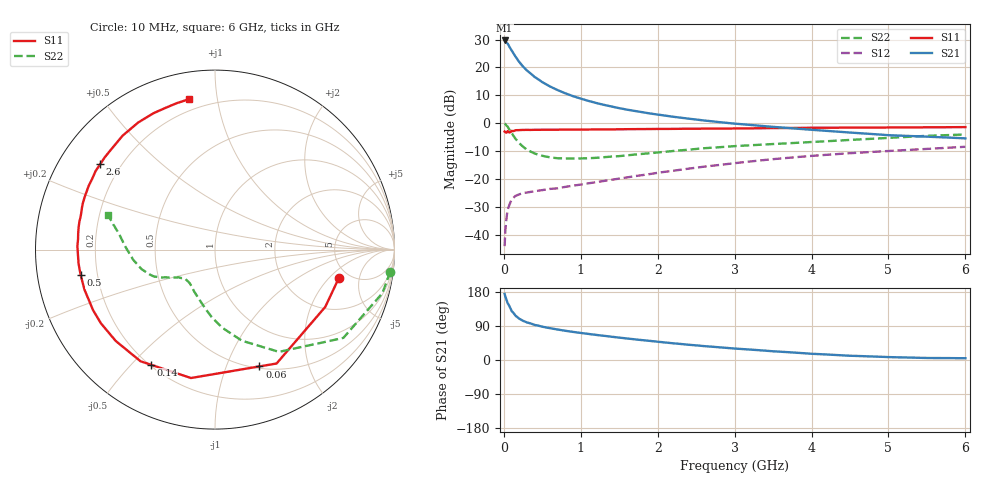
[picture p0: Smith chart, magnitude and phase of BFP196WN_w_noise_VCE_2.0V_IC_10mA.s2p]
! (c) 2017  Infineon Technologies AG, Munich
! Infineon Technologies  Discrete & RF Semiconductors
! BFP196WN
! VCE =  2.0 V,  IC =  10 mA
! Common Emitter S-Parameters:  Jan 2017
# GHz  S  MA  R  50
!  f  S11  S21  S12  S22
! GHz  MAG  ANG  MAG  ANG  MAG  ANG  MAG  ANG
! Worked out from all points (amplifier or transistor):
!   77 points, 10 MHz to 6 GHz, reference 50 ohm
!   highest |S21| = 29.7 dB at 10 MHz (marker M1)
!   |S21| within 3 dB of that: start of sweep to 88.11 MHz
!   unconditionally stable (mu >= 1): 1.12 GHz to 2.825 GHz
!   at 130 MHz: K = 0.19, MSG = 25.8 dB, |S12| = -26.7 dB
!   at 2.2 GHz: K = 1.06, MAG = 8.2 dB, |S12| = -17.1 dB
!   at 6 GHz: K = 0.91, MSG = 1.5 dB, |S12| = -8.5 dB
!   lowest NFmin = 0.92 dB at 450 MHz
!   S11 on the Smith chart (normalised r, x): 10 MHz: 4.12, -2.61; 60 MHz: 0.52, -1.31; 140 MHz: 0.20, -0.57; 500 MHz: 0.14, -0.09; 2.6 GHz: 0.12, +0.33; 6 GHz: 0.14, +0.83
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0.01  0.7081 -12.9  30.54 174.4  0.0062 84.2  0.984 -7.2
0.02  0.6923 -27.5  29.26 167.1  0.0122 78.1  0.9638 -14.6
0.05  0.7214 -61.6  26.79 149.7  0.028 62.4  0.8681 -34.5
0.06  0.6963 -69.2  25.3 146.5  0.0307 58.3  0.8195 -38.3
0.1  0.7279 -100.6  20.37 129.5  0.0423 47.5  0.6721 -58.0
0.14  0.7344 -119.2  16.62 120.2  0.048 39.6  0.5537 -69.9
0.15  0.7478 -123.7  15.77 117.2  0.0495 37.9  0.5288 -73.6
0.2  0.7516 -137.4  12.56 109.1  0.0528 33.9  0.4377 -84.6
0.25  0.7567 -147.1  10.39 103.4  0.0558 31.5  0.3782 -92.6
0.3  0.7585 -153.7  8.817 99.2  0.0569 30.5  0.3336 -99.2
0.4  0.7608 -163.0  6.754 92.6  0.0601 30.9  0.2856 -109.0
0.5  0.7617 -169.4  5.448 87.9  0.0629 32.8  0.2596 -116.8
0.7  0.7642 -177.9  3.916 80.4  0.0678 37.2  0.2346 -126.5
0.9  0.7653 175.6  3.053 74.1  0.0756 41.4  0.2322 -132.6
1.1  0.7698 170.7  2.511 68.8  0.0834 45.4  0.2351 -136.9
1.5  0.7772 162.5  1.86 59.1  0.1013 50.8  0.2563 -143.1
2.1  0.7888 151.6  1.365 46.2  0.1343 55.1  0.3071 -149.7
2.6  0.7974 143.3  1.119 36.7  0.1655 55.7  0.355 -154.6
3.1  0.8046 135.4  0.956 28.9  0.1982 54.4  0.394 -160.1
4.1  0.8277 119.7  0.744 15.5  0.2647 48.4  0.4666 -174.9
5.1  0.8376 108.1  0.602 7.2  0.3223 40.9  0.5541 169.2
6  0.8508 99.8  0.534 4.7  0.3771 34.4  0.6268 162.0
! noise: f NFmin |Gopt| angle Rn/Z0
0.45  0.92  0.37  146  0.05
0.9  1.09  0.52  167  0.05
1.9  2.29  0.71  206  0.13
2.4  3.04  0.72  213  0.24
